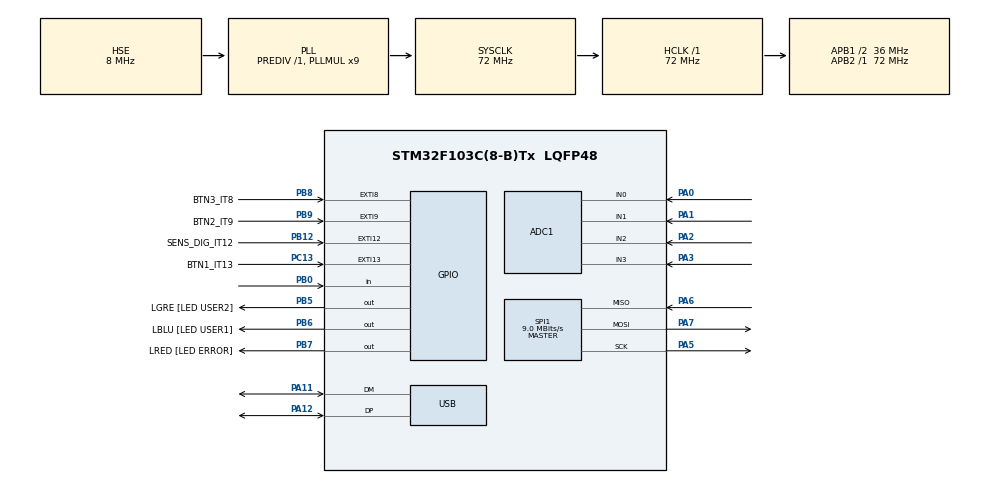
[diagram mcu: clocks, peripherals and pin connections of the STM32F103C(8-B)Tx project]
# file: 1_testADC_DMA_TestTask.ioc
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ADC1.Channel-1\#ChannelRegularConversion=ADC_CHANNEL_0
ADC1.Channel-2\#ChannelRegularConversion=ADC_CHANNEL_1
ADC1.Channel-3\#ChannelRegularConversion=ADC_CHANNEL_2
ADC1.Channel-4\#ChannelRegularConversion=ADC_CHANNEL_3
ADC1.ContinuousConvMode=DISABLE
ADC1.ExternalTrigConv=ADC_EXTERNALTRIGCONV_T3_TRGO
ADC1.NbrOfConversion=4
ADC1.NbrOfConversionFlag=1
ADC1.Rank-1\#ChannelRegularConversion=1
ADC1.Rank-2\#ChannelRegularConversion=2
ADC1.Rank-3\#ChannelRegularConversion=3
ADC1.Rank-4\#ChannelRegularConversion=4
ADC1.SamplingTime-1\#ChannelRegularConversion=ADC_SAMPLETIME_1CYCLE_5
ADC1.SamplingTime-2\#ChannelRegularConversion=ADC_SAMPLETIME_1CYCLE_5
ADC1.SamplingTime-3\#ChannelRegularConversion=ADC_SAMPLETIME_1CYCLE_5
ADC1.SamplingTime-4\#ChannelRegularConversion=ADC_SAMPLETIME_1CYCLE_5
ADC1.master=1
Dma.ADC1.0.Direction=DMA_PERIPH_TO_MEMORY
Dma.ADC1.0.Instance=DMA1_Channel1
Dma.ADC1.0.MemDataAlignment=DMA_MDATAALIGN_HALFWORD
Dma.ADC1.0.MemInc=DMA_MINC_ENABLE
Dma.ADC1.0.Mode=DMA_CIRCULAR
Dma.ADC1.0.PeriphDataAlignment=DMA_PDATAALIGN_HALFWORD
Dma.ADC1.0.PeriphInc=DMA_PINC_DISABLE
Dma.ADC1.0.Priority=DMA_PRIORITY_LOW
Dma.Request0=ADC1
Mcu.Family=STM32F1
Mcu.Name=STM32F103C(8-B)Tx
Mcu.Package=LQFP48
NVIC.ADC1_2_IRQn=true\:5\:0\:true\:false\:true\:true\:true\:true
NVIC.DMA1_Channel1_IRQn=true\:0\:0\:false\:false\:true\:false\:true\:true
NVIC.PriorityGroup=NVIC_PRIORITYGROUP_4
NVIC.TIM2_IRQn=true\:3\:0\:true\:false\:true\:true\:true\:true
NVIC.TIM3_IRQn=true\:5\:0\:true\:false\:true\:true\:true\:true
NVIC.USB_LP_CAN1_RX0_IRQn=true\:0\:0\:false\:false\:true\:false\:true\:true
PA0-WKUP.Signal=ADCx_IN0
PA1.Signal=ADCx_IN1
PA11.Mode=Device
PA11.Signal=USB_DM
PA12.Mode=Device
PA12.Signal=USB_DP
PA13.Mode=Serial_Wire
PA13.Signal=SYS_JTMS-SWDIO
PA14.Mode=Serial_Wire
PA14.Signal=SYS_JTCK-SWCLK
PA2.Signal=ADCx_IN2
PA3.Signal=ADCx_IN3
PA5.Mode=Full_Duplex_Master
PA5.Signal=SPI1_SCK
PA6.Mode=Full_Duplex_Master
PA6.Signal=SPI1_MISO
PA7.Mode=Full_Duplex_Master
PA7.Signal=SPI1_MOSI
PB0.Signal=GPIO_Input
PB12.GPIO_Label=SENS_DIG_IT12
PB12.Signal=GPXTI12
PB5.GPIO_Label=LGRE [LED USER2]
PB5.GPIO_PuPd=GPIO_PULLUP
PB5.Signal=GPIO_Output
PB6.GPIO_Label=LBLU [LED USER1]
PB6.GPIO_PuPd=GPIO_PULLUP
PB6.Signal=GPIO_Output
PB7.GPIO_Label=LRED [LED ERROR]
PB7.GPIO_PuPd=GPIO_PULLUP
PB7.Signal=GPIO_Output
PB8.GPIO_Label=BTN3_IT8
PB8.GPIO_ModeDefaultEXTI=GPIO_MODE_IT_FALLING
PB8.GPIO_PuPd=GPIO_NOPULL
PB8.Signal=GPXTI8
PB9.GPIO_Label=BTN2_IT9
PB9.GPIO_ModeDefaultEXTI=GPIO_MODE_IT_FALLING
PB9.GPIO_PuPd=GPIO_NOPULL
PB9.Signal=GPXTI9
PC13-TAMPER-RTC.GPIO_Label=BTN1_IT13
PC13-TAMPER-RTC.GPIO_ModeDefaultEXTI=GPIO_MODE_IT_FALLING
PC13-TAMPER-RTC.Signal=GPXTI13
PC14-OSC32_IN.Mode=LSE-External-Clock-Source
PC14-OSC32_IN.Signal=RCC_OSC32_IN
PC15-OSC32_OUT.Mode=LSE-External-Clock-Source
PC15-OSC32_OUT.Signal=RCC_OSC32_OUT
PD0-OSC_IN.Mode=HSE-External-Oscillator
PD0-OSC_IN.Signal=RCC_OSC_IN
PD1-OSC_OUT.Mode=HSE-External-Oscillator
PD1-OSC_OUT.Signal=RCC_OSC_OUT
ProjectManager.HeapSize=0x200
ProjectManager.StackSize=0x400
ProjectManager.TargetToolchain=STM32CubeIDE
RCC.ADCPresc=RCC_ADCPCLK2_DIV6
RCC.AHBFreq_Value=72000000
RCC.APB1CLKDivider=RCC_HCLK_DIV2
RCC.APB1Freq_Value=36000000
RCC.APB1TimFreq_Value=72000000
RCC.APB2Freq_Value=72000000
RCC.APB2TimFreq_Value=72000000
RCC.HCLKFreq_Value=72000000
RCC.PLLMUL=RCC_PLL_MUL9
RCC.PLLSourceVirtual=RCC_PLLSOURCE_HSE
RCC.SYSCLKFreq_VALUE=72000000
RCC.SYSCLKSource=RCC_SYSCLKSOURCE_PLLCLK
RCC.USBFreq_Value=48000000
RCC.USBPrescaler=RCC_USBCLKSOURCE_PLL_DIV1_5
SH.ADCx_IN0.0=ADC1_IN0,IN0
SH.ADCx_IN1.0=ADC1_IN1,IN1
SH.ADCx_IN2.0=ADC1_IN2,IN2
SH.ADCx_IN3.0=ADC1_IN3,IN3
SPI1.BaudRatePrescaler=SPI_BAUDRATEPRESCALER_8
SPI1.CalculateBaudRate=9.0 MBits/s
SPI1.Direction=SPI_DIRECTION_2LINES
SPI1.Mode=SPI_MODE_MASTER
SPI1.VirtualType=VM_MASTER
TIM2.Period=600-1
TIM2.Prescaler=72-1
TIM3.Channel-PWM\ Generation1\ No\ Output=TIM_CHANNEL_1
TIM3.Period=100-2
TIM3.Prescaler=72-1
TIM3.TIM_MasterOutputTrigger=TIM_TRGO_UPDATE
TIM4.Period=10-1
TIM4.Prescaler=72-1
USB_DEVICE.APP_RX_DATA_SIZE=64
USB_DEVICE.APP_TX_DATA_SIZE=64
USB_DEVICE.CLASS_NAME_FS=CDC
USB_DEVICE.PID_CDC_FS=0xC1B0
USB_DEVICE.PRODUCT_STRING_CDC_FS=STM32 usblib
USB_DEVICE.VirtualMode=Cdc
USB_DEVICE.VirtualModeFS=Cdc_FS
VP_TIM2_VS_ClockSourceINT.Mode=Internal
VP_TIM3_VS_ClockSourceINT.Mode=Internal
VP_TIM3_VS_no_output1.Mode=PWM Generation1 No Output
VP_TIM4_VS_ClockSourceINT.Mode=Internal
VP_USB_DEVICE_VS_USB_DEVICE_CDC_FS.Mode=CDC_FS
board=custom

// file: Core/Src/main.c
/* USER CODE BEGIN Header */
/**
  ******************************************************************************
  * @file           : main.c
  * @brief          : Main program body
  ******************************************************************************
  * @attention
  *
  * Copyright (c) 2024 STMicroelectronics.
  * All rights reserved.
  *
  * This software is licensed under terms that can be found in the LICENSE file
  * in the root directory of this software component.
  * If no LICENSE file comes with this software, it is provided AS-IS.
  *
  ******************************************************************************
  */
/* USER CODE END Header */
#include "main.h"
#include "usb_device.h"

/* USER CODE BEGIN Includes */
#include "0_strPrc.h"
#include "stdio.h"
#include "string.h"
#include "usbd_cdc.h"
#include "usbd_cdc_if.h"
/* USER CODE END Includes */

/* USER CODE BEGIN PTD */
extern USBD_HandleTypeDef hUsbDeviceFS;
/* USER CODE END PTD */

/* USER CODE BEGIN PD */
//#define AVG_SLOPE	4.3	// mV per C
//#define V25			1.43	// V

#define MAX_INDEX_BUFFER 	23

#define HAS_DOT 			(1)

#define CODE_HANDLER 		(1)
#define CODE_HANDLER_USB 	(0)

#define CODE_HANDLER_1 		(0)
#define TEST_9_2 			(1)

#define TEST (1)

#define LENGTH_USB 	(64)
/* USER CODE END PD */

ADC_HandleTypeDef hadc1;
DMA_HandleTypeDef hdma_adc1;

SPI_HandleTypeDef hspi1;

TIM_HandleTypeDef htim2;
TIM_HandleTypeDef htim3;
TIM_HandleTypeDef htim4;

/* USER CODE BEGIN PV */

/*Val ADC*/
uint16_t nadc[4] = {0};

uint16_t tesst[4] = {4352, 9856, 2356, 8794};

struct flag_tmr2_t
{
	uint32_t 	flag_1us;
	uint32_t 	flat_1s;
};

struct flag_tmr2_t flagTmr2 = {0,0};

// char strFrNum[LENGTH] = {0};				// xxxx:yyyy:zzzz:dddd\r\n

char str4bADC[4] = {0};
char str2bADC[2] = {0};

char buffADC_35Hz[LENGTH_USB] = {0};

/*Val UART*/

uint32_t cnt_ADC_done = 0;
uint32_t cnt_ADC_err = 0;

//char* mystrcat( char* dest, char* src );
//char* num2str(int i, char b[]);

// Handles the IRQ of ADC1. EOC flag is cleared by reading data register
//static uint32_t temp = 0;
//static uint32_t temp_sensor = 0;
/* USER CODE END PV */

void SystemClock_Config(void);
static void MX_GPIO_Init(void);
static void MX_DMA_Init(void);
static void MX_ADC1_Init(void);
static void MX_TIM3_Init(void);
static void MX_SPI1_Init(void);
static void MX_TIM2_Init(void);
static void MX_TIM4_Init(void);

/* USER CODE BEGIN 0 */
uint16_t index_cnt = 0;
uint16_t cnt_1 = 0;

uint32_t cnt_time4 = 0;

void HAL_ADC_ConvCpltCallback(ADC_HandleTypeDef* hadc)
{

#if (!TEST)
	index_cnt = index_cnt + 10;

	strPrc_strcpy_pos(buffADC_35Hz, nadc[0], 0 + index_cnt, str2bADC);
	strPrc_strcpy_pos(buffADC_35Hz, nadc[1], 2 + index_cnt, str2bADC);
	strPrc_strcpy_pos(buffADC_35Hz, nadc[2], 4 + index_cnt, str2bADC);
	strPrc_strcpy_pos(buffADC_35Hz, nadc[3], 6 + index_cnt, str2bADC);
#else

//	cnt_time4 = 0;
//	__HAL_TIM_SET_COUNTER(&htim4, 0);

	/*20-30us*/

	// LGRE_GPIO_Port->BSRR = (uint32_t)LGRE_Pin << 16u;

	flagTmr2.flag_1us++;

	if(index_cnt >= LENGTH_USB)
		index_cnt = 0;

	strPrc_strcpy10bytesADC(buffADC_35Hz, tesst, index_cnt);

	index_cnt = index_cnt + 10; // digital sens + \n

	// LGRE_GPIO_Port->BSRR = LGRE_Pin;

//	cnt_time4 = __HAL_TIM_GET_COUNTER(&htim4);
	__NOP();
	__NOP();
	__NOP();

#endif
}

void HAL_TIM_PeriodElapsedCallback(TIM_HandleTypeDef *htim)	// 100us = 0.1ms
{
	if(htim->Instance == htim2.Instance)
	{
// 		flagTmr2.flat_1s ++;
//		flagTmr2.flag_1us ++;
	}
}

/* USER CODE END 0 */

int main(void)
{

  /* MCU Configuration--------------------------------------------------------*/

  /* Reset of all peripherals, Initializes the Flash interface and the Systick. */
  HAL_Init();

  /* Configure the system clock */
  SystemClock_Config();

  /* Initialize all configured peripherals */
  MX_GPIO_Init();
  MX_DMA_Init();
  MX_ADC1_Init();
  MX_TIM3_Init();
  MX_USB_DEVICE_Init();
  MX_SPI1_Init();
  MX_TIM2_Init();
  MX_TIM4_Init();
  /* USER CODE BEGIN 2 */
  // Calculator ADC
  HAL_GPIO_WritePin(GPIOB, LRED_Pin | LGRE_Pin | LBLU_Pin, LED_LOW);

  while(HAL_GPIO_ReadPin(BTN3_IT8_GPIO_Port, BTN3_IT8_Pin) == GPIO_PIN_SET){}

  if(HAL_ADCEx_Calibration_Start(&hadc1) != HAL_OK)
	  Error_Handler();
  // start pwm generation
  if(HAL_TIM_PWM_Start(&htim3, TIM_CHANNEL_1) != HAL_OK)
	  Error_Handler();

  if(HAL_ADC_Start_DMA(&hadc1, (uint32_t*)nadc, sizeof(nadc) / sizeof(uint16_t)) != HAL_OK)
	  Error_Handler();

  if(HAL_TIM_Base_Start_IT(&htim2) != HAL_OK)
	  Error_Handler();

  if(HAL_TIM_Base_Start(&htim4) != HAL_OK)
	  Error_Handler();
  /* USER CODE END 2 */

  /* Infinite loop */
  /* USER CODE BEGIN WHILE */
  while (1)
  {
#if (CODE_HANDLER)

//	if(flagTmr2.flat_1s >= 10000) // 1s
//	{
//		while(HAL_GPIO_ReadPin(BTN3_IT8_GPIO_Port, BTN3_IT8_Pin) == GPIO_PIN_SET){}
//
//		flagTmr2.flat_1s = 0;
//
//		counter_done = 0;
//		counter = 0;
//	}

	/*
	 * 1 Tick = 100us
	 * 1000 : 100ms
	 * 100  : 10ms
	 * 1-   : 1ms
	 *
	 * 28ms : 35HZ :
	 * 0.6ms :  :
	 * */

	if(flagTmr2.flag_1us >= 6)
	{
		flagTmr2.flag_1us = 0;

		/*10-20us*/

		__HAL_TIM_SET_COUNTER(&htim4, 0);

		index_cnt = 0;

//		HAL_GPIO_TogglePin(LRED_GPIO_Port, LRED_Pin);

		if(CDC_Transmit_FS((uint8_t*)buffADC_35Hz, LENGTH_USB) == USBD_OK)
		{
			cnt_ADC_done++;
//			HAL_GPIO_TogglePin(LGRE_GPIO_Port, LGRE_Pin);
		}
		else
		{
			cnt_ADC_err++;
		}

		cnt_time4 = __HAL_TIM_GET_COUNTER(&htim4);

		__NOP();
		__NOP();

#endif

#if (CODE_HANDLER)
	}
#endif

    /* USER CODE END WHILE */

  }
}

void SystemClock_Config(void)
{
  RCC_OscInitTypeDef RCC_OscInitStruct = {0};
  RCC_ClkInitTypeDef RCC_ClkInitStruct = {0};
  RCC_PeriphCLKInitTypeDef PeriphClkInit = {0};

  /** Initializes the RCC Oscillators according to the specified parameters
  * in the RCC_OscInitTypeDef structure.
  */
  RCC_OscInitStruct.OscillatorType = RCC_OSCILLATORTYPE_HSE;
  RCC_OscInitStruct.HSEState = RCC_HSE_ON;
  RCC_OscInitStruct.HSEPredivValue = RCC_HSE_PREDIV_DIV1;
  RCC_OscInitStruct.HSIState = RCC_HSI_ON;
  RCC_OscInitStruct.PLL.PLLState = RCC_PLL_ON;
  RCC_OscInitStruct.PLL.PLLSource = RCC_PLLSOURCE_HSE;
  RCC_OscInitStruct.PLL.PLLMUL = RCC_PLL_MUL9;
  if (HAL_RCC_OscConfig(&RCC_OscInitStruct) != HAL_OK)
  {
    Error_Handler();
  }

  /** Initializes the CPU, AHB and APB buses clocks
  */
  RCC_ClkInitStruct.ClockType = RCC_CLOCKTYPE_HCLK|RCC_CLOCKTYPE_SYSCLK
                              |RCC_CLOCKTYPE_PCLK1|RCC_CLOCKTYPE_PCLK2;
  RCC_ClkInitStruct.SYSCLKSource = RCC_SYSCLKSOURCE_PLLCLK;
  RCC_ClkInitStruct.AHBCLKDivider = RCC_SYSCLK_DIV1;
  RCC_ClkInitStruct.APB1CLKDivider = RCC_HCLK_DIV2;
  RCC_ClkInitStruct.APB2CLKDivider = RCC_HCLK_DIV1;

  if (HAL_RCC_ClockConfig(&RCC_ClkInitStruct, FLASH_LATENCY_2) != HAL_OK)
  {
    Error_Handler();
  }
  PeriphClkInit.PeriphClockSelection = RCC_PERIPHCLK_ADC|RCC_PERIPHCLK_USB;
  PeriphClkInit.AdcClockSelection = RCC_ADCPCLK2_DIV6;
  PeriphClkInit.UsbClockSelection = RCC_USBCLKSOURCE_PLL_DIV1_5;
  if (HAL_RCCEx_PeriphCLKConfig(&PeriphClkInit) != HAL_OK)
  {
    Error_Handler();
  }
}

static void MX_ADC1_Init(void)
{

  ADC_ChannelConfTypeDef sConfig = {0};

  /** Common config
  */
  hadc1.Instance = ADC1;
  hadc1.Init.ScanConvMode = ADC_SCAN_ENABLE;
  hadc1.Init.ContinuousConvMode = DISABLE;
  hadc1.Init.DiscontinuousConvMode = DISABLE;
  hadc1.Init.ExternalTrigConv = ADC_EXTERNALTRIGCONV_T3_TRGO;
  hadc1.Init.DataAlign = ADC_DATAALIGN_RIGHT;
  hadc1.Init.NbrOfConversion = 4;
  if (HAL_ADC_Init(&hadc1) != HAL_OK)
  {
    Error_Handler();
  }

  /** Configure Regular Channel
  */
  sConfig.Channel = ADC_CHANNEL_0;
  sConfig.Rank = ADC_REGULAR_RANK_1;
  sConfig.SamplingTime = ADC_SAMPLETIME_1CYCLE_5;
  if (HAL_ADC_ConfigChannel(&hadc1, &sConfig) != HAL_OK)
  {
    Error_Handler();
  }

  /** Configure Regular Channel
  */
  sConfig.Channel = ADC_CHANNEL_1;
  sConfig.Rank = ADC_REGULAR_RANK_2;
  if (HAL_ADC_ConfigChannel(&hadc1, &sConfig) != HAL_OK)
  {
    Error_Handler();
  }

  /** Configure Regular Channel
  */
  sConfig.Channel = ADC_CHANNEL_2;
  sConfig.Rank = ADC_REGULAR_RANK_3;
  if (HAL_ADC_ConfigChannel(&hadc1, &sConfig) != HAL_OK)
  {
    Error_Handler();
  }

  /** Configure Regular Channel
  */
  sConfig.Channel = ADC_CHANNEL_3;
  sConfig.Rank = ADC_REGULAR_RANK_4;
  if (HAL_ADC_ConfigChannel(&hadc1, &sConfig) != HAL_OK)
  {
    Error_Handler();
  }

}

static void MX_SPI1_Init(void)
{

  /* SPI1 parameter configuration*/
  hspi1.Instance = SPI1;
  hspi1.Init.Mode = SPI_MODE_MASTER;
  hspi1.Init.Direction = SPI_DIRECTION_2LINES;
  hspi1.Init.DataSize = SPI_DATASIZE_8BIT;
  hspi1.Init.CLKPolarity = SPI_POLARITY_LOW;
  hspi1.Init.CLKPhase = SPI_PHASE_1EDGE;
  hspi1.Init.NSS = SPI_NSS_SOFT;
  hspi1.Init.BaudRatePrescaler = SPI_BAUDRATEPRESCALER_8;
  hspi1.Init.FirstBit = SPI_FIRSTBIT_MSB;
  hspi1.Init.TIMode = SPI_TIMODE_DISABLE;
  hspi1.Init.CRCCalculation = SPI_CRCCALCULATION_DISABLE;
  hspi1.Init.CRCPolynomial = 10;
  if (HAL_SPI_Init(&hspi1) != HAL_OK)
  {
    Error_Handler();
  }

}

static void MX_TIM2_Init(void)
{

  TIM_ClockConfigTypeDef sClockSourceConfig = {0};
  TIM_MasterConfigTypeDef sMasterConfig = {0};

  htim2.Instance = TIM2;
  htim2.Init.Prescaler = 72-1;
  htim2.Init.CounterMode = TIM_COUNTERMODE_UP;
  htim2.Init.Period = 600-1;
  htim2.Init.ClockDivision = TIM_CLOCKDIVISION_DIV1;
  htim2.Init.AutoReloadPreload = TIM_AUTORELOAD_PRELOAD_DISABLE;
  if (HAL_TIM_Base_Init(&htim2) != HAL_OK)
  {
    Error_Handler();
  }
  sClockSourceConfig.ClockSource = TIM_CLOCKSOURCE_INTERNAL;
  if (HAL_TIM_ConfigClockSource(&htim2, &sClockSourceConfig) != HAL_OK)
  {
    Error_Handler();
  }
  sMasterConfig.MasterOutputTrigger = TIM_TRGO_RESET;
  sMasterConfig.MasterSlaveMode = TIM_MASTERSLAVEMODE_DISABLE;
  if (HAL_TIMEx_MasterConfigSynchronization(&htim2, &sMasterConfig) != HAL_OK)
  {
    Error_Handler();
  }

}

static void MX_TIM3_Init(void)
{

  TIM_ClockConfigTypeDef sClockSourceConfig = {0};
  TIM_MasterConfigTypeDef sMasterConfig = {0};
  TIM_OC_InitTypeDef sConfigOC = {0};

  htim3.Instance = TIM3;
  htim3.Init.Prescaler = 72-1;
  htim3.Init.CounterMode = TIM_COUNTERMODE_UP;
  htim3.Init.Period = 100-2;
  htim3.Init.ClockDivision = TIM_CLOCKDIVISION_DIV1;
  htim3.Init.AutoReloadPreload = TIM_AUTORELOAD_PRELOAD_DISABLE;
  if (HAL_TIM_Base_Init(&htim3) != HAL_OK)
  {
    Error_Handler();
  }
  sClockSourceConfig.ClockSource = TIM_CLOCKSOURCE_INTERNAL;
  if (HAL_TIM_ConfigClockSource(&htim3, &sClockSourceConfig) != HAL_OK)
  {
    Error_Handler();
  }
  if (HAL_TIM_PWM_Init(&htim3) != HAL_OK)
  {
    Error_Handler();
  }
  sMasterConfig.MasterOutputTrigger = TIM_TRGO_UPDATE;
  sMasterConfig.MasterSlaveMode = TIM_MASTERSLAVEMODE_DISABLE;
  if (HAL_TIMEx_MasterConfigSynchronization(&htim3, &sMasterConfig) != HAL_OK)
  {
    Error_Handler();
  }
  sConfigOC.OCMode = TIM_OCMODE_PWM1;
  sConfigOC.Pulse = 0;
  sConfigOC.OCPolarity = TIM_OCPOLARITY_HIGH;
  sConfigOC.OCFastMode = TIM_OCFAST_DISABLE;
  if (HAL_TIM_PWM_ConfigChannel(&htim3, &sConfigOC, TIM_CHANNEL_1) != HAL_OK)
  {
    Error_Handler();
  }

}

static void MX_TIM4_Init(void)
{

  TIM_ClockConfigTypeDef sClockSourceConfig = {0};
  TIM_MasterConfigTypeDef sMasterConfig = {0};

  htim4.Instance = TIM4;
  htim4.Init.Prescaler = 72-1;
  htim4.Init.CounterMode = TIM_COUNTERMODE_UP;
  htim4.Init.Period = 10-1;
  htim4.Init.ClockDivision = TIM_CLOCKDIVISION_DIV1;
  htim4.Init.AutoReloadPreload = TIM_AUTORELOAD_PRELOAD_DISABLE;
  if (HAL_TIM_Base_Init(&htim4) != HAL_OK)
  {
    Error_Handler();
  }
  sClockSourceConfig.ClockSource = TIM_CLOCKSOURCE_INTERNAL;
  if (HAL_TIM_ConfigClockSource(&htim4, &sClockSourceConfig) != HAL_OK)
  {
    Error_Handler();
  }
  sMasterConfig.MasterOutputTrigger = TIM_TRGO_RESET;
  sMasterConfig.MasterSlaveMode = TIM_MASTERSLAVEMODE_DISABLE;
  if (HAL_TIMEx_MasterConfigSynchronization(&htim4, &sMasterConfig) != HAL_OK)
  {
    Error_Handler();
  }

}

static void MX_DMA_Init(void)
{

  /* DMA controller clock enable */
  __HAL_RCC_DMA1_CLK_ENABLE();

  /* DMA interrupt init */
  /* DMA1_Channel1_IRQn interrupt configuration */
  HAL_NVIC_SetPriority(DMA1_Channel1_IRQn, 0, 0);
  HAL_NVIC_EnableIRQ(DMA1_Channel1_IRQn);

}

static void MX_GPIO_Init(void)
{
  GPIO_InitTypeDef GPIO_InitStruct = {0};

  /* GPIO Ports Clock Enable */
  __HAL_RCC_GPIOC_CLK_ENABLE();
  __HAL_RCC_GPIOD_CLK_ENABLE();
  __HAL_RCC_GPIOA_CLK_ENABLE();
  __HAL_RCC_GPIOB_CLK_ENABLE();

  /*Configure GPIO pin Output Level */
  HAL_GPIO_WritePin(GPIOB, LGRE_Pin|LBLU_Pin|LRED_Pin, GPIO_PIN_RESET);

  /*Configure GPIO pin : BTN1_IT13_Pin */
  GPIO_InitStruct.Pin = BTN1_IT13_Pin;
  GPIO_InitStruct.Mode = GPIO_MODE_IT_FALLING;
  GPIO_InitStruct.Pull = GPIO_NOPULL;
  HAL_GPIO_Init(BTN1_IT13_GPIO_Port, &GPIO_InitStruct);

  /*Configure GPIO pin : PB0 */
  GPIO_InitStruct.Pin = GPIO_PIN_0;
  GPIO_InitStruct.Mode = GPIO_MODE_INPUT;
  GPIO_InitStruct.Pull = GPIO_NOPULL;
  HAL_GPIO_Init(GPIOB, &GPIO_InitStruct);

  /*Configure GPIO pin : SENS_DIG_IT12_Pin */
  GPIO_InitStruct.Pin = SENS_DIG_IT12_Pin;
  GPIO_InitStruct.Mode = GPIO_MODE_IT_RISING;
  GPIO_InitStruct.Pull = GPIO_NOPULL;
  HAL_GPIO_Init(SENS_DIG_IT12_GPIO_Port, &GPIO_InitStruct);

  /*Configure GPIO pins : LGRE_Pin LBLU_Pin LRED_Pin */
  GPIO_InitStruct.Pin = LGRE_Pin|LBLU_Pin|LRED_Pin;
  GPIO_InitStruct.Mode = GPIO_MODE_OUTPUT_PP;
  GPIO_InitStruct.Pull = GPIO_PULLUP;
  GPIO_InitStruct.Speed = GPIO_SPEED_FREQ_LOW;
  HAL_GPIO_Init(GPIOB, &GPIO_InitStruct);

  /*Configure GPIO pins : BTN3_IT8_Pin BTN2_IT9_Pin */
  GPIO_InitStruct.Pin = BTN3_IT8_Pin|BTN2_IT9_Pin;
  GPIO_InitStruct.Mode = GPIO_MODE_IT_FALLING;
  GPIO_InitStruct.Pull = GPIO_NOPULL;
  HAL_GPIO_Init(GPIOB, &GPIO_InitStruct);

}

void Error_Handler(void)
{
  /* USER CODE BEGIN Error_Handler_Debug */
  /* User can add his own implementation to report the HAL error return state */
  __disable_irq();

//  HAL_GPIO_WritePin(L_B_GPIO_Port, L_B_Pin, GPIO_PIN_RESET);

  while (1)
  {
	  HAL_GPIO_WritePin(LRED_GPIO_Port, LRED_Pin, LED_HIG);
  }
  /* USER CODE END Error_Handler_Debug */
}
